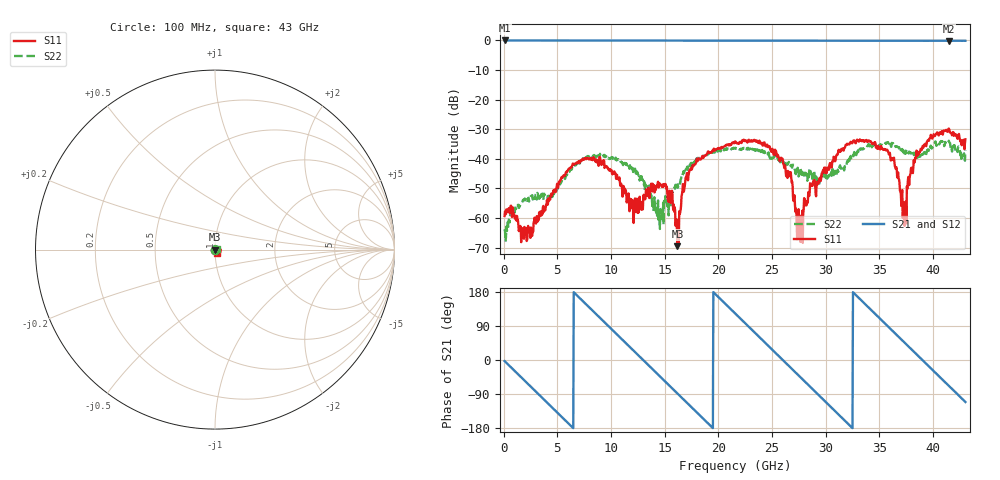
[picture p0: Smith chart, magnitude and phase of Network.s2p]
# Hz S RI R 50.000000
! Metas.Vna.Tools, 2.9.9438.25149
! Metas.Vna.Data, 2.9.9438.25100
! Created: UTC 2026.07.08 12:40:16
! FREQ  re:S1,1  im:S1,1  re:S2,1  im:S2,1  re:S1,2  im:S1,2  re:S2,2  im:S2,2
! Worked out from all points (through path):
!   1001 points, 100 MHz to 43 GHz, reference 50 ohm
!   highest |S21| = 0.00 dB at 100 MHz (marker M1); lowest = -0.1 dB at 41.5 GHz (marker M2)
!   group delay of S21, straight-line fit = 76.9 ps
!   lowest |S11| = -69.5 dB at 16.19 GHz (marker M3), VSWR 1.00, Z = 50 - j0.0173 ohm
!   |S11| at or under -10 dB: start of sweep to end of sweep
!   |S22| runs from -68.0 to -33.9 dB; largest |S21 - S12| = 1e-13
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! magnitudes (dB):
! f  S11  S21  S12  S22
! 100 MHz  -59.3  0.0  0.0  -63.8
! 2.545 GHz  -63.2  0.0  0.0  -52.6
! 4.476 GHz  -52.6  0.0  0.0  -52.4
! 7.264 GHz  -40.6  0.0  0.0  -40.5
! 9.152 GHz  -41.7  0.0  0.0  -39.4
! 12.28 GHz  -54.4  -0.1  -0.1  -44.1
! 14.43 GHz  -49.7  -0.1  -0.1  -61.4
! 15.63 GHz  -52.2  -0.1  -0.1  -52.6
! 16.19 GHz  -69.5  -0.1  -0.1  -48.7
! 16.83 GHz  -50.1  -0.1  -0.1  -44.5
! 17.52 GHz  -43.7  -0.1  -0.1  -41.9
! 21.55 GHz  -34.1  -0.1  -0.1  -36.4
! 25.8 GHz  -39.8  -0.1  -0.1  -40.2
! 26.7 GHz  -45.3  -0.1  -0.1  -42.3
! 27.56 GHz  -59.1  -0.1  -0.1  -44.5
! 28.71 GHz  -48.6  -0.1  -0.1  -45.3
! 32.49 GHz  -34.6  -0.1  -0.1  -39.1
! 35.88 GHz  -38.5  -0.1  -0.1  -34.9
! 37.29 GHz  -59.0  -0.1  -0.1  -37.7
! 38.54 GHz  -39.0  -0.1  -0.1  -39.6
! 41.5 GHz  -30.2  -0.1  -0.1  -34.4
! 43 GHz  -33.4  -0.1  -0.1  -37.1
